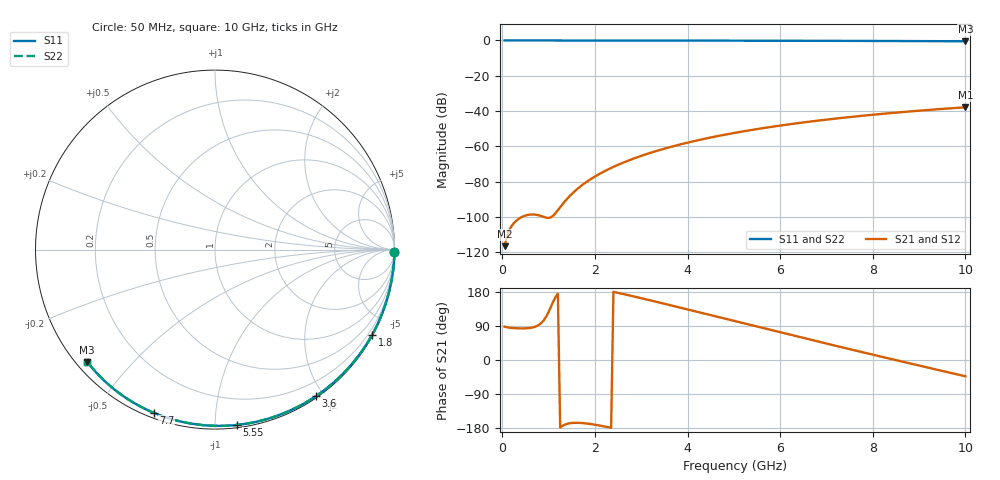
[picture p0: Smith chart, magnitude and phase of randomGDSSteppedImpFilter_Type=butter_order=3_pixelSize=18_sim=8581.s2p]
! freq	dB(S11)	phase(S11)	dB(S12)	phase(S12)
!  dB(S21)	phase(S21)	dB(S22)	phase(S22)
!S-par simulation data
#  GHz  S  DB  R 50
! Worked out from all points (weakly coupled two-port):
!   200 points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, 50 MHz to 10 GHz, reference 50 ohm
!   highest |S21| = -37.85 dB at 10 GHz (marker M1); lowest = -116.5 dB at 50 MHz (marker M2)
!   lowest |S11| = -0.5 dB at 10 GHz (marker M3), VSWR 37.11, Z = 1.54 - j18.8 ohm
!   |S11| at or under -10 dB: nowhere
!   |S22| runs from -0.5 to 0.0 dB; largest |S21 - S12| = 0
!   S11 on the Smith chart (normalised r, x): 50 MHz: open; 1.8 GHz: 0.03, -3.94; 3.6 GHz: 0.02, -1.90; 5.55 GHz: 0.02, -1.13; 7.7 GHz: 0.02, -0.69; 10 GHz: 0.03, -0.38
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0.05  -0.00 -0.8  -116.54 87.9  -116.54 87.9  -0.00 -0.8
0.45  -0.01 -7.2  -99.67 83.4  -99.67 83.4  -0.01 -7.2
0.9  -0.02 -14.4  -100.02 105.4  -100.02 105.4  -0.02 -14.4
1.75  -0.04 -27.7  -81.43 -166.7  -81.43 -166.7  -0.04 -27.7
1.8  -0.04 -28.4  -80.48 -167.3  -80.48 -167.3  -0.04 -28.4
1.85  -0.04 -29.2  -79.58 -168.0  -79.58 -168.0  -0.04 -29.2
2.05  -0.04 -32.3  -76.32 -171.8  -76.32 -171.8  -0.04 -32.3
2.25  -0.05 -35.4  -73.51 -176.4  -73.51 -176.4  -0.05 -35.4
2.55  -0.05 -39.9  -69.88 175.8  -69.88 175.8  -0.05 -39.9
2.95  -0.06 -46.0  -65.84 164.6  -65.84 164.6  -0.06 -46.0
3.4  -0.07 -52.6  -62.06 151.4  -62.06 151.4  -0.07 -52.6
3.6  -0.07 -55.6  -60.57 145.4  -60.57 145.4  -0.07 -55.6
3.9  -0.08 -59.9  -58.53 136.4  -58.53 136.4  -0.08 -59.9
4.3  -0.09 -65.6  -56.09 124.3  -56.09 124.3  -0.09 -65.6
5.05  -0.12 -76.1  -52.20 101.6  -52.20 101.6  -0.12 -76.1
5.55  -0.14 -82.9  -50.00 86.5  -50.00 86.5  -0.14 -82.9
6.1  -0.16 -90.2  -47.85 70.0  -47.85 70.0  -0.16 -90.2
6.7  -0.19 -98.0  -45.79 52.2  -45.79 52.2  -0.19 -98.0
7.7  -0.25 -110.6  -42.86 22.8  -42.86 22.8  -0.25 -110.6
8.35  -0.30 -118.7  -41.23 4.0  -41.23 4.0  -0.30 -118.7
9.2  -0.38 -129.0  -39.37 -20.3  -39.37 -20.3  -0.38 -129.0
10  -0.47 -138.7  -37.85 -43.0  -37.85 -43.0  -0.47 -138.7
